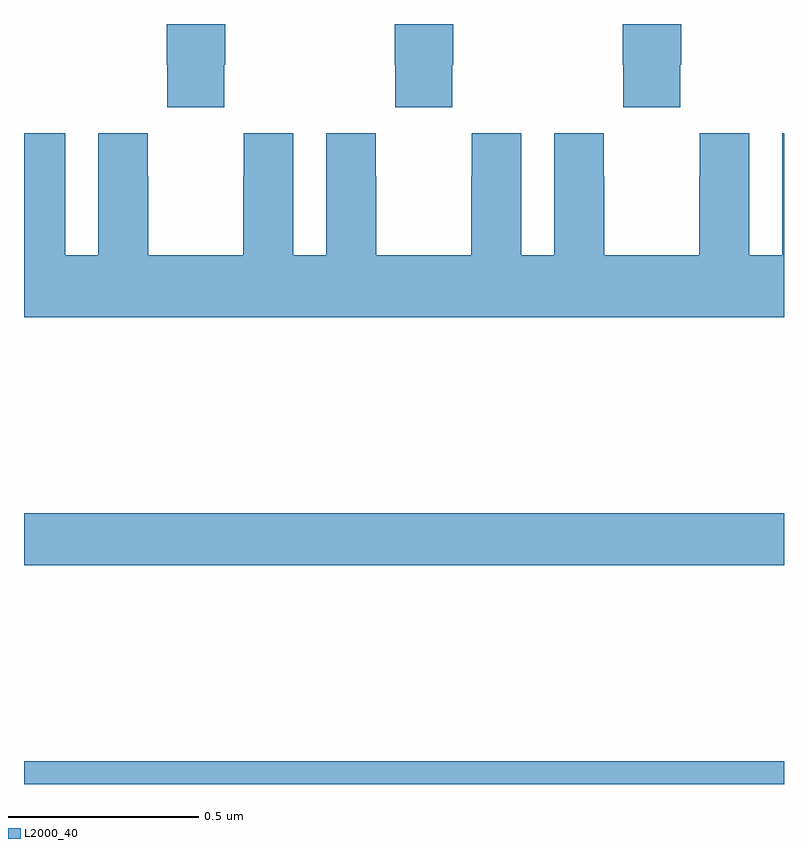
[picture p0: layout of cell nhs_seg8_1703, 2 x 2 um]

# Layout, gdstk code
import gdstk
lib = gdstk.Library(unit=1e-6, precision=1e-09)
def R(c, l, rs):  # rectangles x0, y0, x1, y1
    for r in rs: c.add(gdstk.rectangle(r[:2], r[2:], *l))
def P(c, l, *ps):  # polygons
    for p in ps: c.add(gdstk.Polygon(p, *l))
L2000_40 = (2000, 40)

nhs_seg8_1703 = lib.new_cell('nhs_seg8_1703')
R(nhs_seg8_1703, L2000_40, [(133,1153.9,135,1153.96), (133,1154.476,135,1154.612)])
P(nhs_seg8_1703, L2000_40, [(133.527,1155.793),(133.53,1155.793),(133.53,1155.9),(133.375,1155.9),(133.375,1155.793),(133.377,1155.793),(133.377,1155.681),(133.527,1155.681)],
  [(134.127,1155.793),(134.13,1155.793),(134.13,1155.9),(133.975,1155.9),(133.975,1155.793),(133.977,1155.793),(133.977,1155.681),(134.127,1155.681)],
  [(134.727,1155.793),(134.73,1155.793),(134.73,1155.9),(134.575,1155.9),(134.575,1155.793),(134.577,1155.793),(134.577,1155.681),(134.727,1155.681)],
  [(135,1155.613),(134.996,1155.613),(134.996,1155.292),(134.908,1155.292),(134.908,1155.613),(134.778,1155.613),(134.778,1155.5),(134.777,1155.5),(134.777,1155.292),(134.527,1155.292),(134.527,1155.5),(134.526,1155.5),(134.526,1155.613),(134.396,1155.613),(134.396,1155.292),(134.308,1155.292),(134.308,1155.613),(134.178,1155.613),(134.178,1155.5),(134.177,1155.5),(134.177,1155.292),(133.927,1155.292),(133.927,1155.5),(133.926,1155.5),(133.926,1155.613),(133.796,1155.613),(133.796,1155.292),(133.708,1155.292),(133.708,1155.613),(133.578,1155.613),(133.578,1155.5),(133.577,1155.5),(133.577,1155.292),(133.327,1155.292),(133.327,1155.5),(133.326,1155.5),(133.326,1155.613),(133.196,1155.613),(133.196,1155.292),(133.108,1155.292),(133.108,1155.613),(133,1155.613),(133,1155.128),(135,1155.128)])

lib.write_gds('nhs_seg8_1703.gds')
